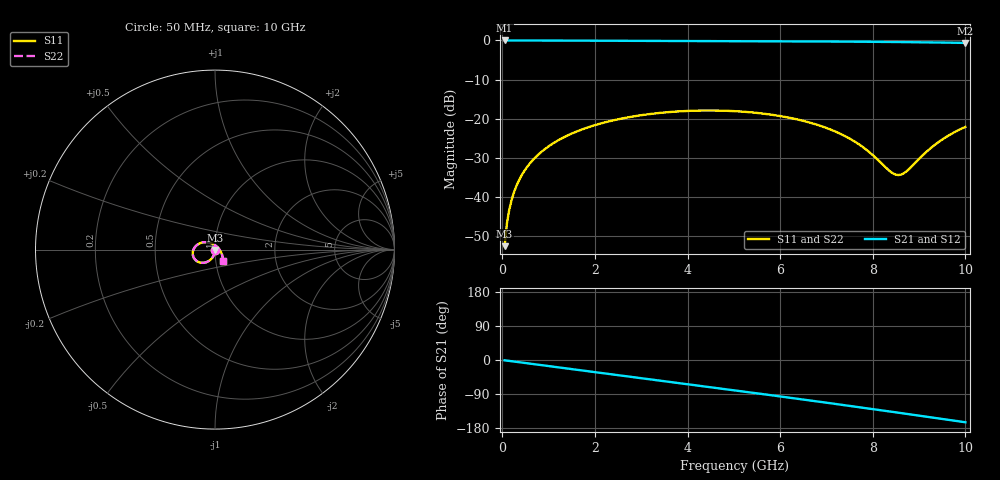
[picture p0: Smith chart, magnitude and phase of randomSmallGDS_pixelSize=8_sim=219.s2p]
! freq	dB(S11)	phase(S11)	dB(S12)	phase(S12)
!  dB(S21)	phase(S21)	dB(S22)	phase(S22)
!S-par simulation data
#  GHz  S  DB  R 50
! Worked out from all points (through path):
!   200 points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, 50 MHz to 10 GHz, reference 50 ohm
!   highest |S21| = 0.00 dB at 50 MHz (marker M1); lowest = -0.6 dB at 10 GHz (marker M2)
!   group delay of S21, straight-line fit = 45.4 ps
!   lowest |S11| = -52.6 dB at 50 MHz (marker M3), VSWR 1.00, Z = 50 - j0.233 ohm
!   |S11| at or under -10 dB: start of sweep to end of sweep
!   |S22| runs from -52.6 to -17.9 dB; largest |S21 - S12| = 0
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0.05  -52.64 -92.6  -0.00 -0.8  -0.00 -0.8  -52.64 -92.6
0.1  -46.80 -93.1  -0.00 -1.6  -0.00 -1.6  -46.80 -93.1
0.15  -43.33 -93.6  -0.00 -2.4  -0.00 -2.4  -43.33 -93.6
0.2  -40.86 -94.2  -0.00 -3.2  -0.00 -3.2  -40.86 -94.2
0.35  -36.04 -96.4  -0.01 -5.7  -0.01 -5.7  -36.04 -96.4
0.5  -32.97 -98.8  -0.01 -8.0  -0.01 -8.0  -32.97 -98.8
0.7  -30.09 -102.1  -0.02 -11.2  -0.02 -11.2  -30.09 -102.1
1  -27.10 -107.0  -0.02 -16.1  -0.02 -16.1  -27.10 -107.0
1.75  -22.65 -119.3  -0.05 -28.0  -0.05 -28.0  -22.65 -119.3
2.5  -20.17 -131.4  -0.08 -39.9  -0.08 -39.9  -20.17 -131.4
3.4  -18.54 -146.0  -0.12 -54.2  -0.12 -54.2  -18.54 -146.1
4.25  -17.94 -160.1  -0.16 -67.8  -0.16 -67.8  -17.94 -160.1
5.05  -18.11 -173.8  -0.19 -80.7  -0.19 -80.7  -18.11 -173.9
5.95  -19.25 169.8  -0.22 -95.3  -0.22 -95.3  -19.25 169.8
6.7  -21.22 154.6  -0.25 -107.7  -0.25 -107.7  -21.22 154.5
7.6  -25.80 130.2  -0.31 -122.8  -0.31 -122.8  -25.79 130.1
7.95  -28.82 114.3  -0.34 -128.8  -0.34 -128.8  -28.81 114.2
8.35  -33.27 77.9  -0.38 -135.6  -0.38 -135.6  -33.25 77.8
8.5  -34.35 54.4  -0.40 -138.2  -0.40 -138.2  -34.32 54.3
8.65  -34.12 28.2  -0.42 -140.8  -0.42 -140.8  -34.09 28.3
9.35  -26.61 -34.3  -0.51 -152.9  -0.51 -152.9  -26.60 -34.3
10  -22.12 -55.3  -0.63 -164.2  -0.63 -164.2  -22.11 -55.2
